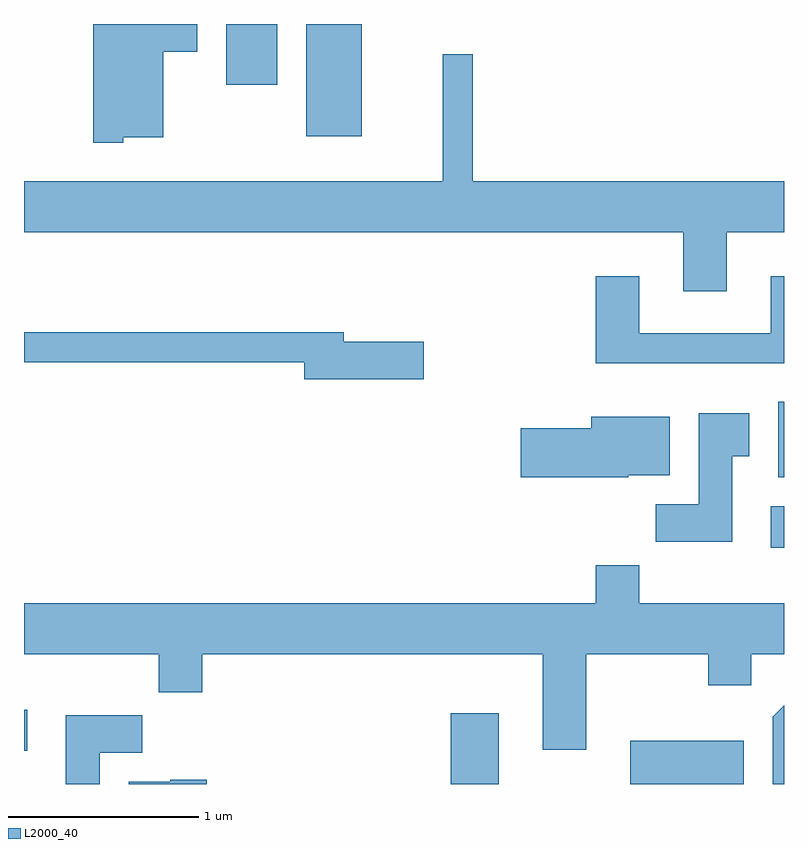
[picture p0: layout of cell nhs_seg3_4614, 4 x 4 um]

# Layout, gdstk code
import gdstk
lib = gdstk.Library(unit=1e-6, precision=1e-09)
def R(c, l, rs):  # rectangles x0, y0, x1, y1
    for r in rs: c.add(gdstk.rectangle(r[:2], r[2:], *l))
def P(c, l, *ps):  # polygons
    for p in ps: c.add(gdstk.Polygon(p, *l))
L2000_40 = (2000, 40)

nhs_seg3_4614 = lib.new_cell('nhs_seg3_4614')
R(nhs_seg3_4614, L2000_40, [(321.856,1231.892,322.109,1232.264), (322.801,1231.892,323.399,1232.119), (319.611,1232.066,319.629,1232.284), (323.541,1233.136,323.611,1233.354), (323.581,1233.506,323.611,1233.904), (321.096,1235.301,321.389,1235.892), (320.676,1235.571,320.944,1235.892)])
P(nhs_seg3_4614, L2000_40, [(320.134,1235.296),(320.344,1235.296),(320.344,1235.746),(320.524,1235.746),(320.524,1235.892),(319.976,1235.892),(319.976,1235.266),(320.134,1235.266)],
  [(323.309,1234.796),(323.611,1234.796),(323.611,1235.064),(321.974,1235.064),(321.974,1235.733),(321.816,1235.733),(321.816,1235.064),(319.611,1235.064),(319.611,1234.796),(323.081,1234.796),(323.081,1234.486),(323.309,1234.486)],
  [(323.611,1234.564),(323.541,1234.564),(323.541,1234.264),(322.849,1234.264),(322.849,1234.564),(322.621,1234.564),(322.621,1234.106),(323.611,1234.106)],
  [(321.714,1234.219),(321.294,1234.219),(321.294,1234.269),(319.611,1234.269),(319.611,1234.111),(321.086,1234.111),(321.086,1234.021),(321.714,1234.021)],
  [(323.339,1233.616),(323.429,1233.616),(323.429,1233.844),(323.161,1233.844),(323.161,1233.364),(322.936,1233.364),(322.936,1233.166),(323.339,1233.166)],
  [(322.79,1233.516),(323.009,1233.516),(323.009,1233.824),(322.596,1233.824),(322.596,1233.764),(322.226,1233.764),(322.226,1233.506),(322.79,1233.506)],
  [(322.569,1232.576),(323.211,1232.576),(323.211,1232.411),(323.439,1232.411),(323.439,1232.576),(323.611,1232.576),(323.611,1232.844),(322.849,1232.844),(322.849,1233.044),(322.621,1233.044),(322.621,1232.844),(319.611,1232.844),(319.611,1232.576),(320.321,1232.576),(320.321,1232.376),(320.549,1232.376),(320.549,1232.576),(322.341,1232.576),(322.341,1232.071),(322.569,1232.071)],
  [(323.611,1232.307),(323.551,1232.247),(323.551,1231.892),(323.611,1231.892)],
  [(320.009,1232.056),(320.234,1232.056),(320.234,1232.254),(319.831,1232.254),(319.831,1231.892),(320.009,1231.892)],
  [(320.574,1231.914),(320.38,1231.914),(320.38,1231.904),(320.161,1231.904),(320.161,1231.892),(320.574,1231.892)])

lib.write_gds('nhs_seg3_4614.gds')
